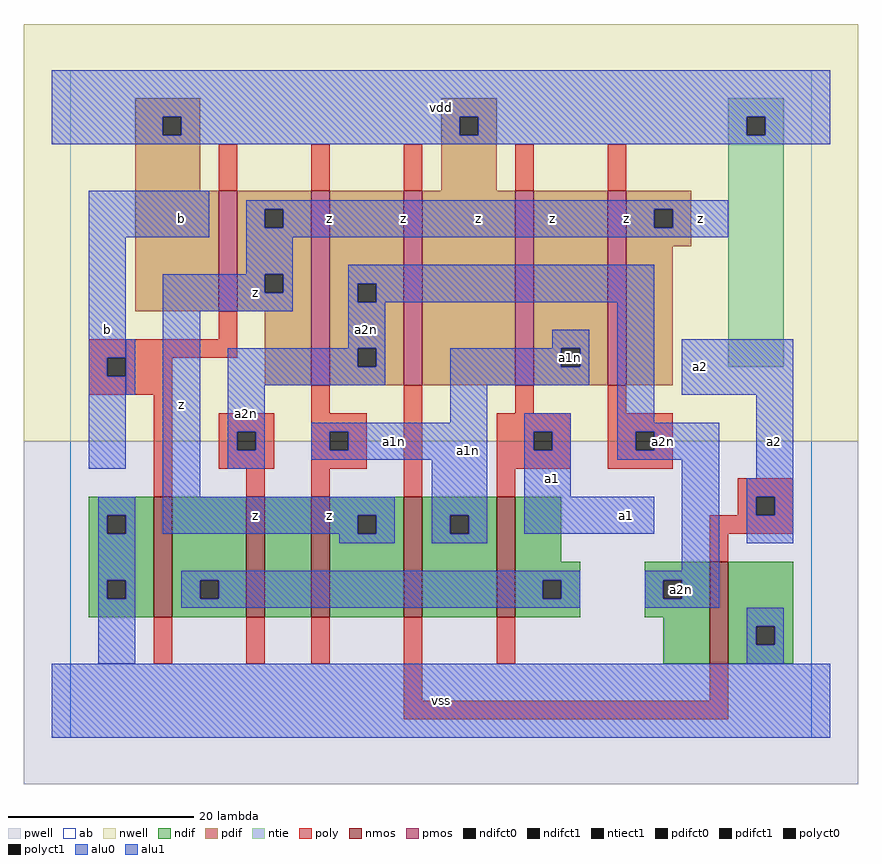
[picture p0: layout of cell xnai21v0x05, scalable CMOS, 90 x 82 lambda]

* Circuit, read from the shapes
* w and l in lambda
.subckt xnai21v0x05 a1 a1n a2 a2n b vdd vss z
M1 n1 b vss VSUBS nfet w=13 l=2
M2 n2 a2n n1 VSUBS nfet w=13 l=2
M3 z a1n n2 VSUBS nfet w=13 l=2
M4 a1n a2 z VSUBS nfet w=13 l=2
M5 n1 a1 a1n VSUBS nfet w=13 l=2
M6 vss a2 a2n VSUBS nfet w=11 l=2
M7 z b vdd vdd pfet w=13 l=2
M8 a2n a1n z vdd pfet w=21 l=2
M9 vdd a2 a2n vdd pfet w=21 l=2
M10 a1n a1 vdd vdd pfet w=21 l=2
M11 z a2n a1n vdd pfet w=21 l=2
.ends

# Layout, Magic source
magic
tech scmos
<< ab >>
rect 0 0 80 72
<< nwell >>
rect -5 32 85 77
<< pwell >>
rect -5 -5 85 32
<< poly >>
rect 16 59 18 64
rect 26 59 28 64
rect 36 59 38 64
rect 48 59 50 64
rect 58 59 60 64
rect 16 43 18 46
rect 2 41 18 43
rect 2 39 4 41
rect 6 39 11 41
rect 2 37 11 39
rect 9 26 11 37
rect 26 35 28 38
rect 16 33 22 35
rect 16 31 18 33
rect 20 31 22 33
rect 16 29 22 31
rect 26 33 32 35
rect 26 31 28 33
rect 30 31 32 33
rect 26 29 32 31
rect 19 26 21 29
rect 26 26 28 29
rect 36 26 38 38
rect 48 35 50 38
rect 58 35 60 38
rect 46 33 54 35
rect 46 31 50 33
rect 52 31 54 33
rect 46 29 54 31
rect 58 33 65 35
rect 58 31 61 33
rect 63 31 65 33
rect 58 29 65 31
rect 46 26 48 29
rect 72 26 78 28
rect 72 24 74 26
rect 76 24 78 26
rect 69 22 78 24
rect 69 19 71 22
rect 9 8 11 13
rect 19 8 21 13
rect 26 8 28 13
rect 36 4 38 13
rect 46 8 48 13
rect 69 4 71 8
rect 36 2 71 4
<< ndif >>
rect 2 24 9 26
rect 2 22 4 24
rect 6 22 9 24
rect 2 17 9 22
rect 2 15 4 17
rect 6 15 9 17
rect 2 13 9 15
rect 11 17 19 26
rect 11 15 14 17
rect 16 15 19 17
rect 11 13 19 15
rect 21 13 26 26
rect 28 24 36 26
rect 28 22 31 24
rect 33 22 36 24
rect 28 13 36 22
rect 38 24 46 26
rect 38 22 41 24
rect 43 22 46 24
rect 38 13 46 22
rect 48 19 53 26
rect 48 17 55 19
rect 48 15 51 17
rect 53 15 55 17
rect 48 13 55 15
rect 62 17 69 19
rect 62 15 64 17
rect 66 15 69 17
rect 62 13 69 15
rect 64 8 69 13
rect 71 12 78 19
rect 71 10 74 12
rect 76 10 78 12
rect 71 8 78 10
<< pdif >>
rect 7 67 14 69
rect 7 65 10 67
rect 12 65 14 67
rect 7 59 14 65
rect 40 67 46 69
rect 40 65 42 67
rect 44 65 46 67
rect 40 59 46 65
rect 7 46 16 59
rect 18 57 26 59
rect 18 55 21 57
rect 23 55 26 57
rect 18 50 26 55
rect 18 48 21 50
rect 23 48 26 50
rect 18 46 26 48
rect 21 38 26 46
rect 28 49 36 59
rect 28 47 31 49
rect 33 47 36 49
rect 28 42 36 47
rect 28 40 31 42
rect 33 40 36 42
rect 28 38 36 40
rect 38 38 48 59
rect 50 42 58 59
rect 50 40 53 42
rect 55 40 58 42
rect 50 38 58 40
rect 60 57 67 59
rect 60 55 63 57
rect 65 55 67 57
rect 60 53 67 55
rect 60 38 65 53
<< alu1 >>
rect -2 67 82 72
rect -2 65 10 67
rect 12 65 42 67
rect 44 65 73 67
rect 75 65 82 67
rect -2 64 82 65
rect 2 54 15 59
rect 19 57 71 58
rect 19 55 21 57
rect 23 55 63 57
rect 65 55 71 57
rect 19 54 71 55
rect 2 41 6 54
rect 19 50 24 54
rect 10 48 21 50
rect 23 48 24 50
rect 10 46 24 48
rect 2 39 4 41
rect 2 29 6 39
rect 10 26 14 46
rect 10 24 35 26
rect 10 22 31 24
rect 33 22 35 24
rect 29 21 35 22
rect 49 33 54 35
rect 49 31 50 33
rect 52 31 54 33
rect 49 26 54 31
rect 66 37 78 43
rect 49 22 63 26
rect 74 28 78 37
rect 73 26 78 28
rect 73 24 74 26
rect 76 24 78 26
rect 73 21 78 24
rect -2 0 82 8
<< ntie >>
rect 71 67 77 69
rect 71 65 73 67
rect 75 65 77 67
rect 71 40 77 65
<< nmos >>
rect 9 13 11 26
rect 19 13 21 26
rect 26 13 28 26
rect 36 13 38 26
rect 46 13 48 26
rect 69 8 71 19
<< pmos >>
rect 16 46 18 59
rect 26 38 28 59
rect 36 38 38 59
rect 48 38 50 59
rect 58 38 60 59
<< polyct0 >>
rect 18 31 20 33
rect 28 31 30 33
rect 61 31 63 33
<< polyct1 >>
rect 4 39 6 41
rect 50 31 52 33
rect 74 24 76 26
<< ndifct0 >>
rect 4 22 6 24
rect 4 15 6 17
rect 14 15 16 17
rect 41 22 43 24
rect 51 15 53 17
rect 64 15 66 17
rect 74 10 76 12
<< ndifct1 >>
rect 31 22 33 24
<< ntiect1 >>
rect 73 65 75 67
<< pdifct0 >>
rect 31 47 33 49
rect 31 40 33 42
rect 53 40 55 42
<< pdifct1 >>
rect 10 65 12 67
rect 42 65 44 67
rect 21 55 23 57
rect 21 48 23 50
rect 63 55 65 57
<< alu0 >>
rect 30 49 63 51
rect 30 47 31 49
rect 33 47 63 49
rect 6 37 7 43
rect 30 42 34 47
rect 52 42 56 44
rect 17 40 31 42
rect 33 40 34 42
rect 17 38 34 40
rect 41 40 53 42
rect 55 40 56 42
rect 41 38 56 40
rect 17 33 21 38
rect 41 34 45 38
rect 17 31 18 33
rect 20 31 21 33
rect 17 29 21 31
rect 26 33 45 34
rect 26 31 28 33
rect 30 31 45 33
rect 26 30 45 31
rect 3 24 7 26
rect 3 22 4 24
rect 6 22 7 24
rect 3 17 7 22
rect 39 24 45 30
rect 39 22 41 24
rect 43 22 45 24
rect 59 34 63 47
rect 59 33 70 34
rect 59 31 61 33
rect 63 31 70 33
rect 59 30 70 31
rect 39 21 45 22
rect 66 18 70 30
rect 3 15 4 17
rect 6 15 7 17
rect 3 8 7 15
rect 12 17 55 18
rect 12 15 14 17
rect 16 15 51 17
rect 53 15 55 17
rect 12 14 55 15
rect 62 17 70 18
rect 62 15 64 17
rect 66 15 70 17
rect 62 14 70 15
rect 73 12 77 14
rect 73 10 74 12
rect 76 10 77 12
rect 73 8 77 10
<< labels >>
rlabel alu0 19 35 19 35 6 a2n
rlabel alu0 32 44 32 44 6 a2n
rlabel alu0 35 32 35 32 6 a1n
rlabel alu0 43 31 43 31 6 a1n
rlabel pdifct0 54 41 54 41 6 a1n
rlabel alu0 66 16 66 16 6 a2n
rlabel alu0 64 32 64 32 6 a2n
rlabel alu1 12 36 12 36 6 z
rlabel alu1 4 44 4 44 6 b
rlabel alu1 12 56 12 56 6 b
rlabel alu1 20 24 20 24 6 z
rlabel alu1 28 24 28 24 6 z
rlabel alu1 20 48 20 48 6 z
rlabel alu1 28 56 28 56 6 z
rlabel alu1 36 56 36 56 6 z
rlabel alu1 40 4 40 4 6 vss
rlabel alu1 52 28 52 28 6 a1
rlabel alu1 52 56 52 56 6 z
rlabel alu1 44 56 44 56 6 z
rlabel alu1 40 68 40 68 6 vdd
rlabel alu1 60 24 60 24 6 a1
rlabel alu1 76 32 76 32 6 a2
rlabel alu1 68 40 68 40 6 a2
rlabel alu1 68 56 68 56 6 z
rlabel alu1 60 56 60 56 6 z
<< end >>
